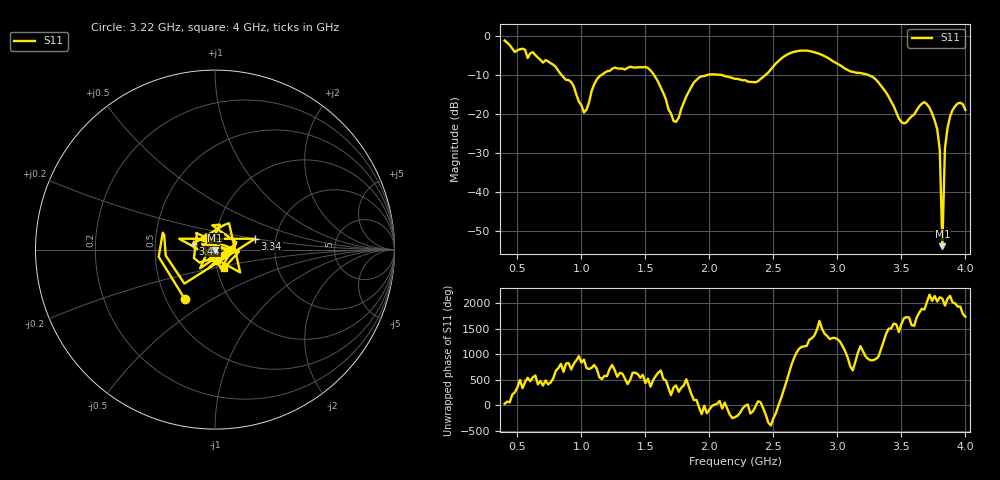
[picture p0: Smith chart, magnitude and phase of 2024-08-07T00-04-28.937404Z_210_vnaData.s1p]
!Created with skrf (http://scikit-rf.org).
# Hz S RI R 50.0
!freq ReS11 ImS11
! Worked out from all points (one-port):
!   181 points, 400 MHz to 4 GHz, reference 50 ohm
!   lowest |S11| = -53.8 dB at 3.82 GHz (marker M1), VSWR 1.00, Z = 50.1 - j0.183 ohm
!   |S11| at or under -10 dB: 1.567 GHz to 1.985 GHz (417.9 MHz wide, 23.5 % of centre); 2.09 GHz to 2.439 GHz (348.7 MHz wide, 15.4 % of centre); 3.24 GHz to end of sweep (the widest 3 of 4)
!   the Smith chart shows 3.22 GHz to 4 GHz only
!   S11 on the Smith chart (normalised r, x): 3.22 GHz: 0.62, -0.39; 3.34 GHz: 1.56, +0.20; 3.44 GHz: 0.78, +0.05; 4 GHz: 1.09, -0.22
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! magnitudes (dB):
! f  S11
! 400 MHz  -1.2
! 860 MHz  -10.6
! 940 MHz  -12.9
! 1.02 GHz  -19.6
! 1.12 GHz  -11.2
! 1.3 GHz  -8.4
! 1.52 GHz  -8.2
! 1.6 GHz  -11.8
! 1.72 GHz  -21.8
! 1.76 GHz  -21.0
! 1.92 GHz  -10.7
! 2.2 GHz  -11.0
! 2.38 GHz  -11.6
! 2.66 GHz  -4.1
! 3.1 GHz  -9.1
! 3.22 GHz  -9.8
! 3.34 GHz  -12.7
! 3.44 GHz  -18.0
! 3.5 GHz  -22.0
! 3.56 GHz  -21.3
! 3.68 GHz  -17.0
! 3.78 GHz  -23.9
! 3.8 GHz  -29.2
! 3.82 GHz  -53.8
! 3.84 GHz  -28.8
! 3.86 GHz  -23.6
! 3.94 GHz  -17.3
! 4 GHz  -18.9
